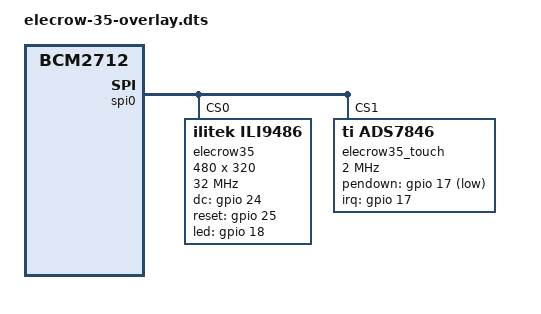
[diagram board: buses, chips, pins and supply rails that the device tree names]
/*
 * Elecrow 3.5" TFT Display (ILI9486) with XPT2046 touch
 * 480x320 resolution
 */

/dts-v1/;
/plugin/;

/ {
    compatible = "brcm,bcm2712";
    
    fragment@0 {
        target = <&spidev0>;
        __overlay__ {
            status = "disabled";
        };
    };
    
    fragment@1 {
        target = <&spidev1>;
        __overlay__ {
            status = "disabled";
        };
    };
    
    fragment@2 {
        target = <&spi0>;
        __overlay__ {
            status = "okay";
            #address-cells = <1>;
            #size-cells = <0>;
            
            elecrow35: elecrow35@0 {
                compatible = "ilitek,ili9486";
                reg = <0>;
                spi-max-frequency = <32000000>;
                
                rotate = <270>;
                bgr;
                fps = <30>;
                buswidth = <8>;
                
                dc-gpios = <&gpio 24 0>;
                reset-gpios = <&gpio 25 0>;
                led-gpios = <&gpio 18 0>;
                
                width = <480>;
                height = <320>;
                
                init = <0x10000b0 0x00
                        0x1000011
                        0x20000ff
                        0x10000d0 0x07 0x42 0x18
                        0x10000d1 0x00 0x07 0x10
                        0x10000d2 0x01 0x02
                        0x10000c0 0x10 0x3b 0x00 0x02 0x11
                        0x10000c5 0x03
                        0x10000c8 0x00 0x32 0x36 0x45 0x06 0x16 0x37 0x75 0x77 0x54 0x0c 0x00
                        0x1000036 0x0a
                        0x100003a 0x55
                        0x10000b4 0x11
                        0x1000029>;
            };
            
            /* XPT2046 Touch Controller */
            elecrow35_touch: elecrow35_touch@1 {
                compatible = "ti,ads7846";
                reg = <1>;
                spi-max-frequency = <2000000>;
                
                interrupt-parent = <&gpio>;
                interrupts = <17 2>;
                pendown-gpio = <&gpio 17 1>;
                
                ti,x-plate-ohms = /bits/ 16 <60>;
                ti,pressure-max = /bits/ 16 <255>;
                
                ti,x-min = /bits/ 16 <200>;
                ti,x-max = /bits/ 16 <3900>;
                ti,y-min = /bits/ 16 <200>;
                ti,y-max = /bits/ 16 <3900>;
            };
        };
    };
    
    fragment@3 {
        target = <&gpio>;
        __overlay__ {
            elecrow35_pins: elecrow35_pins {
                brcm,pins = <17 18 24 25>;
                brcm,function = <0 1 1 1>;
                brcm,pull = <2 0 0 0>;
            };
        };
    };
    
    __overrides__ {
        speed = <&elecrow35>,"spi-max-frequency:0";
        rotate = <&elecrow35>,"rotate:0";
        fps = <&elecrow35>,"fps:0";
    };
};
